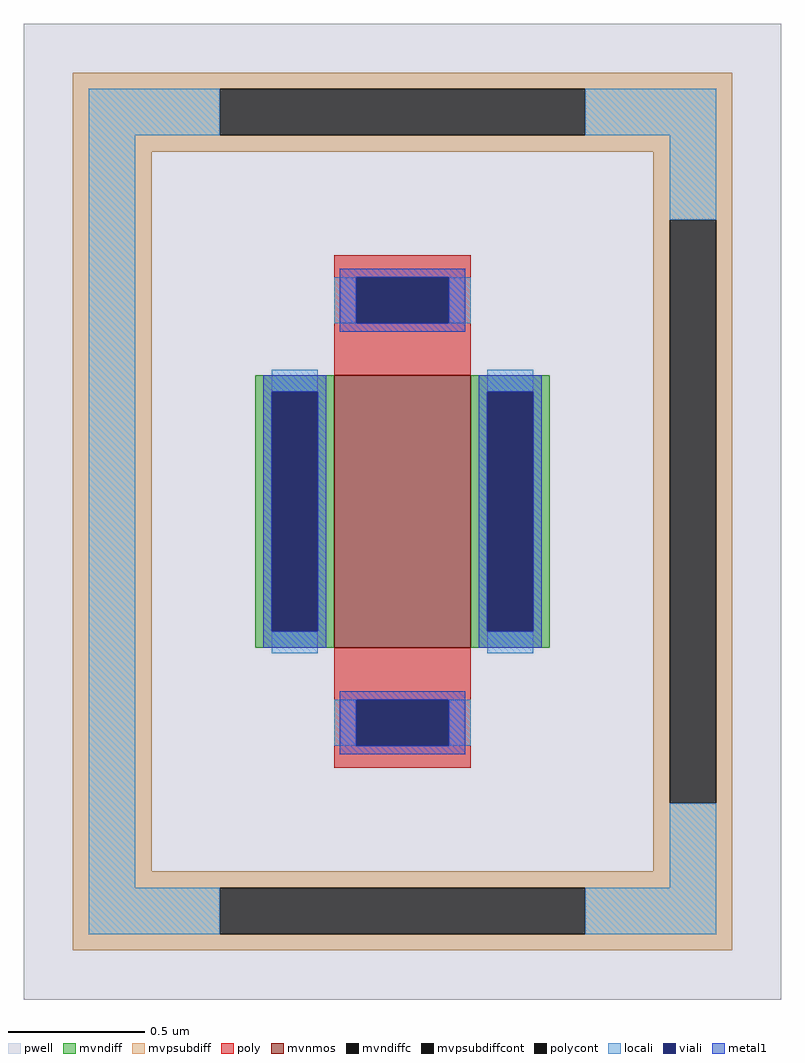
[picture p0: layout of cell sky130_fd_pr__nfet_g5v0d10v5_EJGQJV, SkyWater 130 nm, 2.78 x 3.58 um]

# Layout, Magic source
magic
tech sky130A
<< pwell >>
rect -139 -179 139 179
<< mvnmos >>
rect -25 -50 25 50
<< mvndiff >>
rect -54 44 -25 50
rect -54 -44 -48 44
rect -31 -44 -25 44
rect -54 -50 -25 -44
rect 25 44 54 50
rect 25 -44 31 44
rect 48 -44 54 44
rect 25 -50 54 -44
<< mvndiffc >>
rect -48 -44 -31 44
rect 31 -44 48 44
<< mvpsubdiff >>
rect -121 155 121 161
rect -121 138 -67 155
rect 67 138 121 155
rect -121 132 121 138
rect -121 -132 -92 132
rect 92 107 121 132
rect 92 -107 98 107
rect 115 -107 121 107
rect 92 -132 121 -107
rect -121 -138 121 -132
rect -121 -155 -67 -138
rect 67 -155 121 -138
rect -121 -161 121 -155
<< mvpsubdiffcont >>
rect -67 138 67 155
rect 98 -107 115 107
rect -67 -155 67 -138
<< poly >>
rect -25 86 25 94
rect -25 69 -17 86
rect 17 69 25 86
rect -25 50 25 69
rect -25 -69 25 -50
rect -25 -86 -17 -69
rect 17 -86 25 -69
rect -25 -94 25 -86
<< polycont >>
rect -17 69 17 86
rect -17 -86 17 -69
<< locali >>
rect -115 138 -67 155
rect 67 138 115 155
rect -115 -138 -98 138
rect 98 107 115 138
rect -25 69 -17 86
rect 17 69 25 86
rect -48 44 -31 52
rect -48 -52 -31 -44
rect 31 44 48 52
rect 31 -52 48 -44
rect -25 -86 -17 -69
rect 17 -86 25 -69
rect 98 -138 115 -107
rect -115 -155 -67 -138
rect 67 -155 115 -138
<< viali >>
rect -17 69 17 86
rect -48 -44 -31 44
rect 31 -44 48 44
rect -17 -86 17 -69
<< metal1 >>
rect -23 86 23 89
rect -23 69 -17 86
rect 17 69 23 86
rect -23 66 23 69
rect -51 44 -28 50
rect -51 -44 -48 44
rect -31 -44 -28 44
rect -51 -50 -28 -44
rect 28 44 51 50
rect 28 -44 31 44
rect 48 -44 51 44
rect 28 -50 51 -44
rect -23 -69 23 -66
rect -23 -86 -17 -69
rect 17 -86 23 -69
rect -23 -89 23 -86
<< properties >>
string FIXED_BBOX -106 -146 106 146
string gencell sky130_fd_pr__nfet_g5v0d10v5
string library sky130
string parameters w 1.0 l 0.5 m 1 nf 1 diffcov 100 polycov 100 guard 1 glc 0 grc 1 gtc 1 gbc 1 tbcov 100 rlcov 100 topc 1 botc 1 poverlap 0 doverlap 1 lmin 0.50 wmin 0.42 compatible {sky130_fd_pr__nfet_01v8 sky130_fd_pr__nfet_01v8_lvt  sky130_fd_bs_flash__special_sonosfet_star  sky130_fd_pr__nfet_g5v0d10v5 sky130_fd_pr__nfet_05v0_nvt  sky130_fd_pr__nfet_03v3_nvt} full_metal 1 viasrc 100 viadrn 100 viagate 100 viagb 0 viagr 0 viagl 0 viagt 0
<< end >>
